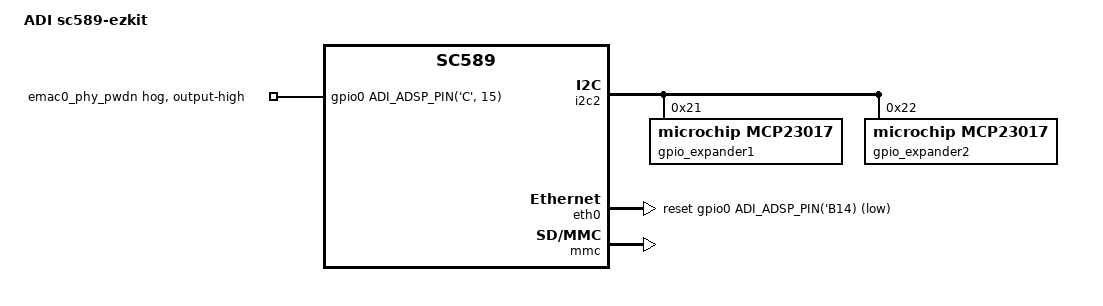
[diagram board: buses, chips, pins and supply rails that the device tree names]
// SPDX-License-Identifier: GPL-2.0-or-later
/*
 * (C) Copyright 2022 - Analog Devices, Inc.
 *
 * Written and/or maintained by Timesys Corporation
 *
 * Contact: Nathan Barrett-Morrison <nathan.morrison@timesys.com>
 * Contact: Greg Malysa <greg.malysa@timesys.com>
 */

/dts-v1/;

#include "sc5xx.dtsi"
#include "sc58x.dtsi"

/ {
	#address-cells = <1>;
	#size-cells = <1>;
	model = "ADI sc589-ezkit";
	compatible = "adi,sc589-ezkit", "adi,sc58x";
};

&i2c2 {
	#address-cells = <1>;
	#size-cells = <0>;
	gpio_expander1: mcp23017@21 {
		compatible = "microchip,mcp23017";
		reg = <0x21>;
		gpio-controller;
		#gpio-cells = <2>;
		bootph-all;

		eeprom {
			gpio-hog;
			gpios = <0 GPIO_ACTIVE_HIGH>;
			output-high;
			line-name = "~eeprom-en";
			bootph-all;
		};

		uart0-flow-en {
			gpio-hog;
			gpios = <1 GPIO_ACTIVE_HIGH>;
			output-high;
			line-name = "~uart0-flow-en";
			bootph-all;
		};

		uart0-en {
			gpio-hog;
			gpios = <2 GPIO_ACTIVE_HIGH>;
			output-low;
			line-name = "~uart0-en";
			bootph-all;
		};

		eth0 {
			gpio-hog;
			gpios = <3 GPIO_ACTIVE_HIGH>;
			output-low;
			line-name = "~eth0-en";
			bootph-all;
		};

		eth1 {
			gpio-hog;
			gpios = <4 GPIO_ACTIVE_HIGH>;
			output-low;
			line-name = "~eth1-en";
			bootph-all;
		};

		mlb {
			gpio-hog;
			gpios = <5 GPIO_ACTIVE_HIGH>;
			output-high;
			line-name = "~mlb-en";
			bootph-all;
		};

		can0 {
			gpio-hog;
			gpios = <6 GPIO_ACTIVE_HIGH>;
			output-high;
			line-name = "~can0-en";
			bootph-all;
		};

		can1 {
			gpio-hog;
			gpios = <7 GPIO_ACTIVE_HIGH>;
			output-high;
			line-name = "~can1-en";
			bootph-all;
		};

		adau1962 {
			gpio-hog;
			gpios = <8 GPIO_ACTIVE_HIGH>;
			output-low;
			line-name = "~adau1962-en";
			bootph-all;
		};

		adau1979 {
			gpio-hog;
			gpios = <9 GPIO_ACTIVE_HIGH>;
			output-low;
			line-name = "~adau1979-en";
			bootph-all;
		};

		sd_wp {
			gpio-hog;
			gpios = <11 GPIO_ACTIVE_HIGH>;
			output-high;
			line-name = "~sd-wp-en";
			bootph-all;
		};

		spi2d2-d3 {
			gpio-hog;
			gpios = <12 GPIO_ACTIVE_HIGH>;
			output-low;
			line-name = "~spi2d2-d3-en";
			bootph-all;
		};

		spi2flash-cs {
			gpio-hog;
			gpios = <13 GPIO_ACTIVE_HIGH>;
			output-low;
			line-name = "~spi2flash-cs";
			bootph-all;
		};

		spdif-opt {
			gpio-hog;
			gpios = <14 GPIO_ACTIVE_HIGH>;
			output-high;
			line-name = "~spdif-optical-en";
			bootph-all;
		};

		spdif-dig {
			gpio-hog;
			gpios = <15 GPIO_ACTIVE_HIGH>;
			output-high;
			line-name = "~spdif-digital-en";
			bootph-all;
		};
	};

	gpio_expander2: mcp23017@22 {
		compatible = "microchip,mcp23017";
		reg = <0x22>;
		gpio-controller;
		#gpio-cells = <2>;
		bootph-all;

		pushbutton1 {
			gpio-hog;
			gpios = <0 GPIO_ACTIVE_HIGH>;
			output-low;
			line-name = "~pushbutton1-en";
			bootph-all;
		};

		pushbutton2 {
			gpio-hog;
			gpios = <1 GPIO_ACTIVE_HIGH>;
			output-low;
			line-name = "~pushbutton2-en";
			bootph-all;
		};

		led10 {
			gpio-hog;
			gpios = <2 GPIO_ACTIVE_HIGH>;
			output-low;
			line-name = "~led10-en";
			bootph-all;
		};

		led11 {
			gpio-hog;
			gpios = <3 GPIO_ACTIVE_HIGH>;
			output-low;
			line-name = "~led11-en";
			bootph-all;
		};

		led12 {
			gpio-hog;
			gpios = <4 GPIO_ACTIVE_HIGH>;
			output-low;
			line-name = "~led12-en";
			bootph-all;
		};
	};
};

&eth0 {
	snps,reset-gpio = <&gpio0 ADI_ADSP_PIN('B', 14) GPIO_ACTIVE_LOW>;
};

&gpio0 {
	emac0_phy_pwdn {
		gpio-hog;
		output-high;
		gpios = <ADI_ADSP_PIN('C', 15) GPIO_ACTIVE_HIGH>;
	};
};

&mmc {
	status = "okay";
};
